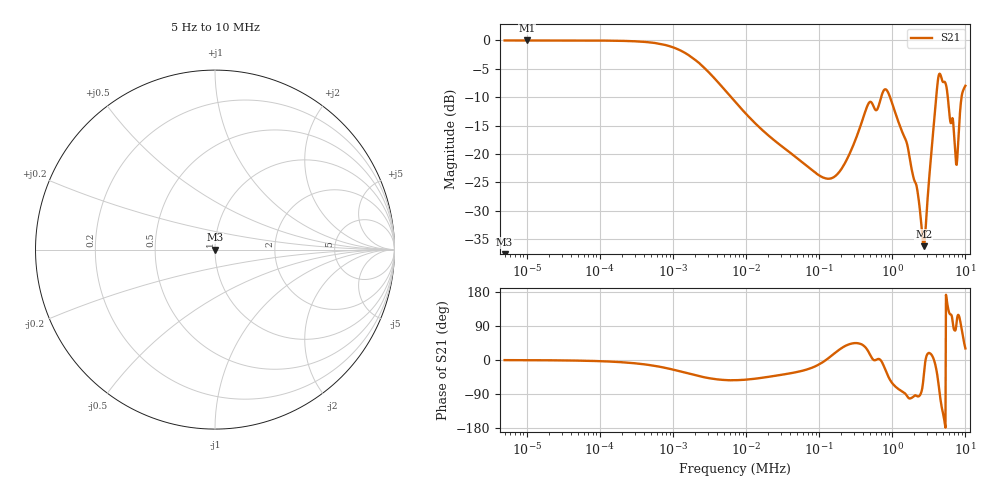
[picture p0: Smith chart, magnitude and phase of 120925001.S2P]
!Agilent Technologies,E5061B,MY49204007,A.02.12
!Date: Fri Sep 12 09:44:24 2025
!Data & Calibration Information:
!Freq	S11:SOLT2(OFF)	S21:SOLT2(OFF)	S12:SOLT2(OFF)	S22:SOLT2(OFF)
# Hz S dB R 50
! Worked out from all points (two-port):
!   1041 points, 5 Hz to 10 MHz, reference 50 ohm
!   highest |S21| = -0.04 dB at 10.12 Hz (marker M1); lowest = -36.2 dB at 2.7 MHz (marker M2)
!   |S21| within 3 dB of the highest: start of sweep to 1.831 kHz
!   lowest |S11| = - dB at 5 Hz (marker M3), VSWR 1.00, Z = 50 + j0 ohm
!   |S11| at or under -10 dB: start of sweep to end of sweep
!   S12 and S22 are empty: the file has one direction only
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5  -200.00 0.0  -0.04 -0.3  -200.00 0.0  -200.00 0.0
10.119  -200.00 0.0  -0.04 -0.5  -200.00 0.0  -200.00 0.0
56.522  -200.00 0.0  -0.05 -1.8  -200.00 0.0  -200.00 0.0
632.897  -200.00 0.0  -0.58 -17.1  -200.00 0.0  -200.00 0.0
1929.818  -200.00 0.0  -3.26 -39.2  -200.00 0.0  -200.00 0.0
7154.49  -200.00 0.0  -10.87 -53.3  -200.00 0.0  -200.00 0.0
80111.67  -200.00 0.0  -22.83 -20.3  -200.00 0.0  -200.00 0.0
179528.9  -200.00 0.0  -23.47 24.3  -200.00 0.0  -200.00 0.0
423908.7  -200.00 0.0  -12.67 34.6  -200.00 0.0  -200.00 0.0
757083.4  -200.00 0.0  -8.93 -13.5  -200.00 0.0  -200.00 0.0
893075.1  -200.00 0.0  -9.40 -45.8  -200.00 0.0  -200.00 0.0
1601372  -200.00 0.0  -18.33 -95.6  -200.00 0.0  -200.00 0.0
2699565  -200.00 0.0  -36.20 -40.3  -200.00 0.0  -200.00 0.0
3636709  -200.00 0.0  -15.87 5.1  -200.00 0.0  -200.00 0.0
3999130  -200.00 0.0  -9.83 -24.3  -200.00 0.0  -200.00 0.0
4378536  -200.00 0.0  -5.96 -77.8  -200.00 0.0  -200.00 0.0
4694707  -200.00 0.0  -6.56 -119.4  -200.00 0.0  -200.00 0.0
5200581  -200.00 0.0  -7.30 -164.1  -200.00 0.0  -200.00 0.0
5947861  -200.00 0.0  -12.04 127.1  -200.00 0.0  -200.00 0.0
7477269  -200.00 0.0  -21.81 88.8  -200.00 0.0  -200.00 0.0
8438310  -200.00 0.0  -12.70 105.7  -200.00 0.0  -200.00 0.0
1e7  -200.00 0.0  -8.01 30.5  -200.00 0.0  -200.00 0.0
